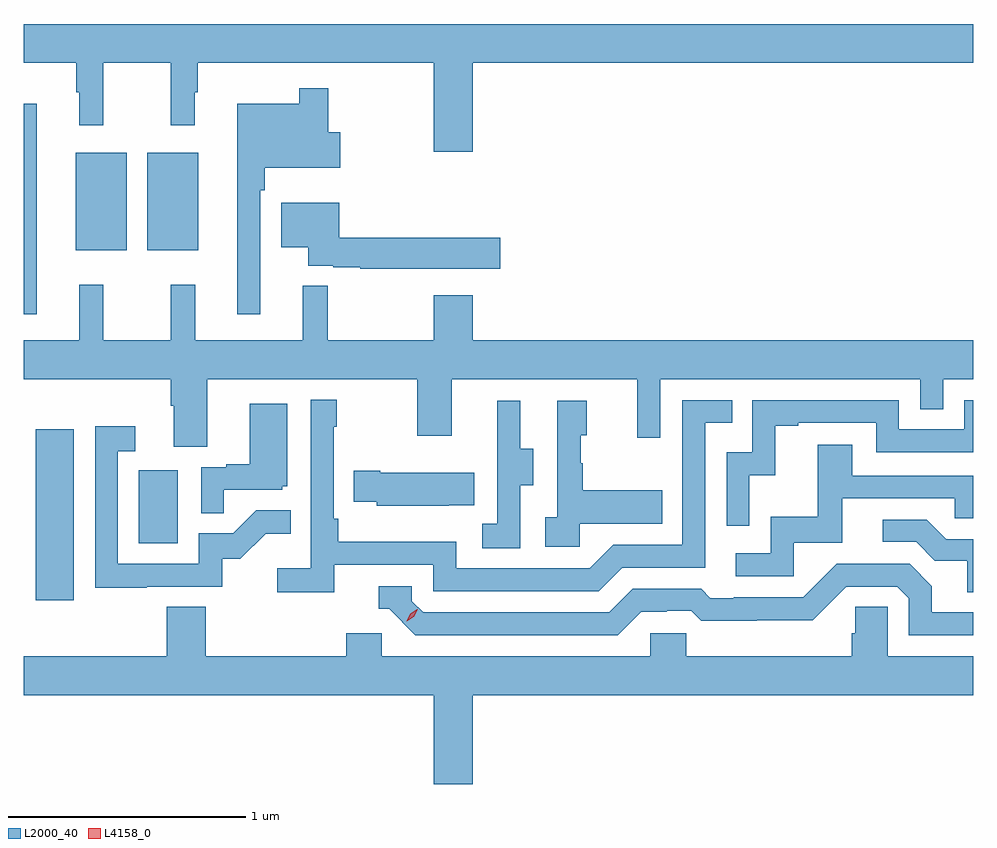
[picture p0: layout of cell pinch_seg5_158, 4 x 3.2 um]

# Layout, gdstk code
import gdstk
lib = gdstk.Library(unit=1e-6, precision=1e-09)
def R(c, l, rs):  # rectangles x0, y0, x1, y1
    for r in rs: c.add(gdstk.rectangle(r[:2], r[2:], *l))
def P(c, l, *ps):  # polygons
    for p in ps: c.add(gdstk.Polygon(p, *l))
L2000_40 = (2000, 40)
L4158_0 = (4158, 0)

pinch_seg5_158 = lib.new_cell('pinch_seg5_158')
R(pinch_seg5_158, L2000_40, [(1110.383,890.46,1110.544,891.181), (1110.818,890.7,1110.982,891.007), (1110.333,891.666,1110.388,892.552), (1110.551,891.935,1110.766,892.345), (1110.854,891.935,1111.069,892.345)])
P(pinch_seg5_158, L2000_40, [(1112.224,892.724),(1114.333,892.724),(1114.333,892.888),(1110.333,892.888),(1110.333,892.724),(1110.555,892.724),(1110.555,892.601),(1110.566,892.601),(1110.566,892.461),(1110.668,892.461),(1110.668,892.724),(1110.952,892.724),(1110.952,892.461),(1111.054,892.461),(1111.054,892.601),(1111.066,892.601),(1111.066,892.724),(1112.06,892.724),(1112.06,892.35),(1112.224,892.35)],
  [(1111.329,892.187),(1111.349,892.187),(1111.349,892.283),(1111.666,892.283),(1111.666,892.431),(1111.615,892.431),(1111.615,892.618),(1111.494,892.618),(1111.494,892.552),(1111.232,892.552),(1111.232,891.666),(1111.329,891.666)],
  [(1112.341,891.987),(1111.662,891.987),(1111.662,892.135),(1111.418,892.135),(1111.418,891.947),(1111.532,891.947),(1111.532,891.87),(1111.636,891.87),(1111.636,891.863),(1111.75,891.863),(1111.75,891.857),(1112.341,891.857)],
  [(1112.06,891.745),(1112.06,891.556),(1111.613,891.556),(1111.613,891.785),(1111.508,891.785),(1111.508,891.556),(1111.055,891.556),(1111.055,891.79),(1110.952,891.79),(1110.952,891.556),(1110.668,891.556),(1110.668,891.79),(1110.566,891.79),(1110.566,891.556),(1110.333,891.556),(1110.333,891.392),(1110.953,891.392),(1110.953,891.28),(1110.965,891.28),(1110.965,891.106),(1111.105,891.106),(1111.105,891.392),(1111.99,891.392),(1111.99,891.153),(1112.137,891.153),(1112.137,891.392),(1112.918,891.392),(1112.918,891.144),(1113.015,891.144),(1113.015,891.392),(1114.11,891.392),(1114.11,891.265),(1114.206,891.265),(1114.206,891.392),(1114.333,891.392),(1114.333,891.556),(1112.224,891.556),(1112.224,891.745)],
  [(1111.64,890.61),(1112.058,890.61),(1112.058,890.499),(1112.755,890.499),(1112.854,890.598),(1113.204,890.598),(1113.204,891.207),(1113.317,891.207),(1113.317,891.303),(1113.108,891.303),(1113.108,890.694),(1112.817,890.694),(1112.718,890.595),(1112.154,890.595),(1112.154,890.707),(1111.658,890.707),(1111.658,890.803),(1111.638,890.803),(1111.638,891.191),(1111.651,891.191),(1111.651,891.304),(1111.542,891.304),(1111.542,890.596),(1111.401,890.596),(1111.401,890.494),(1111.64,890.494)],
  [(1113.39,890.987),(1113.5,890.987),(1113.5,891.195),(1113.595,891.195),(1113.595,891.207),(1113.924,891.207),(1113.924,891.084),(1114.333,891.084),(1114.333,891.303),(1114.296,891.303),(1114.296,891.18),(1114.02,891.18),(1114.02,891.303),(1113.402,891.303),(1113.402,891.084),(1113.294,891.084),(1113.294,890.775),(1113.39,890.775)],
  [(1112.676,890.783),(1113.023,890.783),(1113.023,890.923),(1112.689,890.923),(1112.689,891.038),(1112.679,891.038),(1112.679,891.156),(1112.704,891.156),(1112.704,891.301),(1112.58,891.301),(1112.58,890.81),(1112.529,890.81),(1112.529,890.685),(1112.676,890.685)],
  [(1112.424,890.944),(1112.479,890.944),(1112.479,891.099),(1112.425,891.099),(1112.425,891.301),(1112.327,891.301),(1112.327,891.087),(1112.328,891.087),(1112.328,890.783),(1112.265,890.783),(1112.265,890.68),(1112.424,890.68)],
  [(1111.175,890.925),(1111.422,890.925),(1111.422,890.94),(1111.444,890.94),(1111.444,891.289),(1111.286,891.289),(1111.286,891.034),(1111.187,891.034),(1111.187,891.021),(1111.08,891.021),(1111.08,890.827),(1111.175,890.827)],
  [(1110.851,890.517),(1111.17,890.517),(1111.17,890.634),(1111.246,890.634),(1111.353,890.741),(1111.457,890.741),(1111.457,890.84),(1111.313,890.84),(1111.215,890.742),(1111.071,890.742),(1111.071,890.613),(1110.729,890.613),(1110.729,891.087),(1110.802,891.087),(1110.802,891.193),(1110.633,891.193),(1110.633,890.512),(1110.851,890.512)],
  [(1113.576,890.703),(1113.781,890.703),(1113.781,890.889),(1114.255,890.889),(1114.255,890.805),(1114.333,890.805),(1114.333,890.985),(1113.823,890.985),(1113.823,891.115),(1113.679,891.115),(1113.679,890.812),(1113.48,890.812),(1113.48,890.658),(1113.333,890.658),(1113.333,890.562),(1113.576,890.562)],
  [(1112.123,890.861),(1112.231,890.861),(1112.231,890.998),(1111.834,890.998),(1111.834,891.006),(1111.723,891.006),(1111.723,890.876),(1111.821,890.876),(1111.821,890.858),(1112.123,890.858)],
  [(1114.333,890.718),(1114.219,890.718),(1114.138,890.799),(1113.951,890.799),(1113.951,890.706),(1114.092,890.706),(1114.172,890.626),(1114.307,890.626),(1114.307,890.494),(1114.333,890.494)],
  [(1112.935,890.412),(1113.042,890.412),(1113.042,890.415),(1113.145,890.415),(1113.187,890.373),(1113.42,890.373),(1113.42,890.375),(1113.656,890.375),(1113.798,890.517),(1114.014,890.517),(1114.062,890.469),(1114.062,890.313),(1114.333,890.313),(1114.333,890.409),(1114.159,890.409),(1114.159,890.519),(1114.065,890.613),(1113.759,890.613),(1113.618,890.472),(1113.325,890.472),(1113.325,890.469),(1113.226,890.469),(1113.187,890.508),(1112.898,890.508),(1112.799,890.409),(1112.016,890.409),(1111.968,890.457),(1111.968,890.52),(1111.829,890.52),(1111.829,890.424),(1111.872,890.424),(1111.983,890.313),(1112.836,890.313)],
  [(1111.842,890.322),(1111.691,890.322),(1111.691,890.224),(1111.1,890.224),(1111.1,890.432),(1110.935,890.432),(1110.935,890.224),(1110.333,890.224),(1110.333,890.06),(1112.06,890.06),(1112.06,889.686),(1112.224,889.686),(1112.224,890.06),(1114.333,890.06),(1114.333,890.224),(1113.972,890.224),(1113.972,890.432),(1113.835,890.432),(1113.835,890.322),(1113.821,890.322),(1113.821,890.224),(1113.123,890.224),(1113.123,890.322),(1112.973,890.322),(1112.973,890.224),(1111.842,890.224)])
P(pinch_seg5_158, L4158_0, [(1111.946,890.371),(1111.946,890.371),(1111.961,890.404),(1111.991,890.423),(1111.992,890.423),(1111.992,890.423),(1111.976,890.39),(1111.946,890.371)])

lib.write_gds('pinch_seg5_158.gds')
